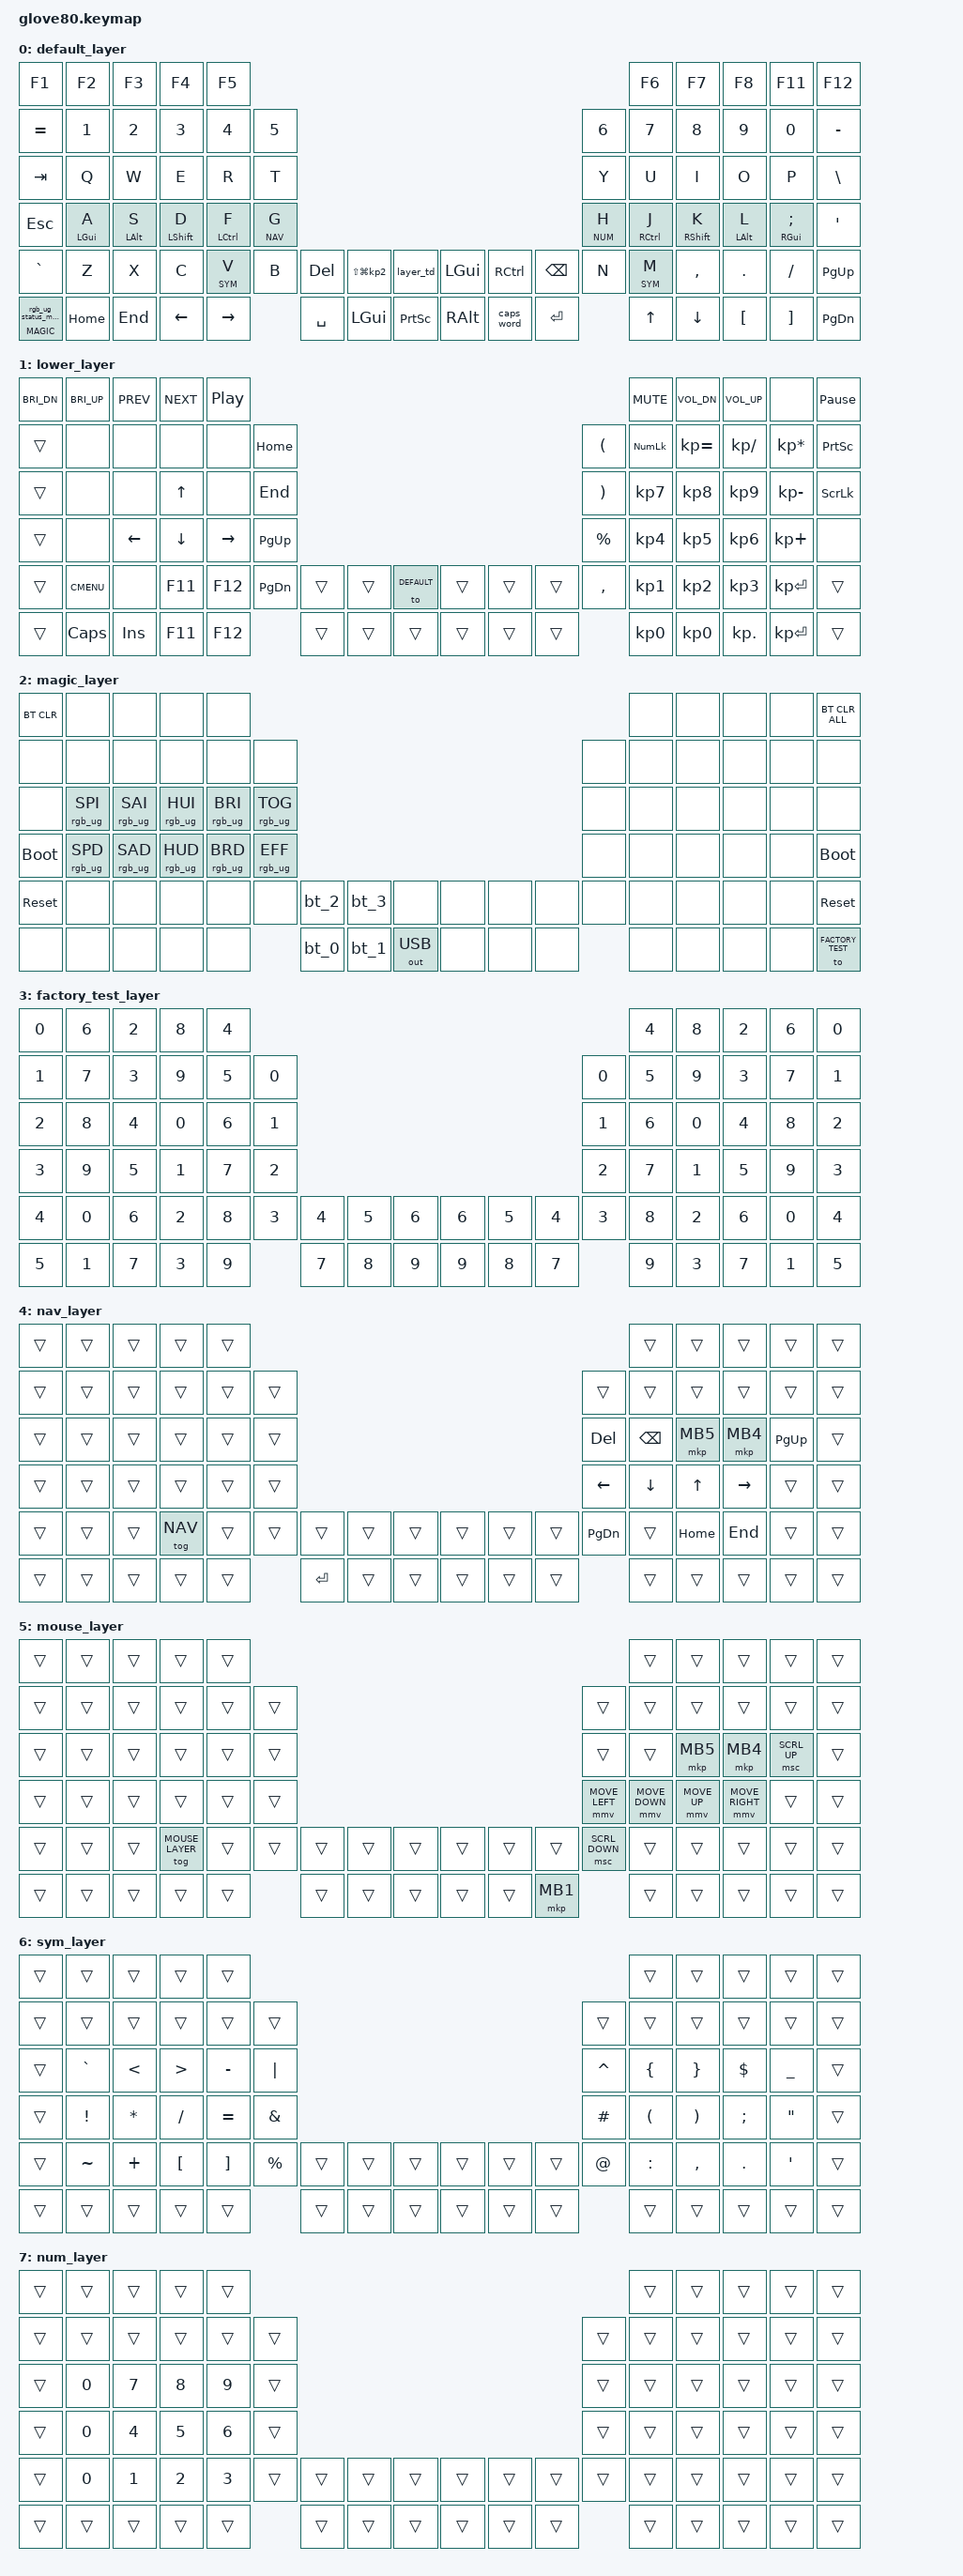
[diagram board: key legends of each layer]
/*
 * Copyright (c) 2020 The ZMK Contributors
 *
 * SPDX-License-Identifier: MIT
 */

#include <behaviors.dtsi>
#include <dt-bindings/zmk/keys.h>
#include <dt-bindings/zmk/bt.h>
#include <dt-bindings/zmk/ext_power.h>
#include <dt-bindings/zmk/outputs.h>
#include <dt-bindings/zmk/rgb.h>
#include <dt-bindings/zmk/mouse.h>
#include <dt-bindings/zmk/modifiers.h>

#define HYPER LC(LS(LG(LALT)))

// layers
#define DEFAULT      0
#define LOWER        1
#define MAGIC        2
#define FACTORY_TEST 3
#define NAV          4
#define MOUSE_LAYER  5
#define SYM          6
#define NUM          7

// Left-hand key positions (for right-hand home row mods)
#define KEYS_L \
     0  1  2  3  4      \
    10 11 12 13 14 15   \
    22 23 24 25 26 27   \
    34 35 36 37 38 39   \
    46 47 48 49 50 51   \
    52 53 54            \
    64 65 66 67 68      \
    69 70 71

// Right-hand key positions (for left-hand home row mods)
#define KEYS_R \
     5  6  7  8  9      \
    16 17 18 19 20 21   \
    28 29 30 31 32 33   \
    40 41 42 43 44 45   \
    55 56 57            \
    58 59 60 61 62 63   \
    72 73 74            \
    75 76 77 78 79

/ {
    behaviors {
        layer_td: tap_dance_0 {
            compatible = "zmk,behavior-tap-dance";
            label = "LAYER_TAP_DANCE";
            #binding-cells = <0>;
            tapping-term-ms = <200>;
            bindings = <&mo LOWER>, <&to LOWER>;
        };

        magic: magic_hold_tap {
            compatible = "zmk,behavior-hold-tap";
            label = "MAGIC_HOLD_TAP";
            #binding-cells = <2>;
            flavor = "tap-preferred";
            tapping-term-ms = <200>;
            bindings = <&mo>, <&rgb_ug_status_macro>;
        };

        // Timeless home row mods (urob's approach)
        // Hold fires only on opposite-hand key press; tapping-term is safety net only.
        hml: home_row_mod_left {
            compatible = "zmk,behavior-hold-tap";
            label = "HML";
            #binding-cells = <2>;
            flavor = "balanced";
            tapping-term-ms = <280>;
            quick-tap-ms = <275>;
            require-prior-idle-ms = <100>;
            hold-trigger-on-release;
            hold-trigger-key-positions = <KEYS_R>;
            bindings = <&kp>, <&kp>;
        };

        hmr: home_row_mod_right {
            compatible = "zmk,behavior-hold-tap";
            label = "HMR";
            #binding-cells = <2>;
            flavor = "balanced";
            tapping-term-ms = <280>;
            quick-tap-ms = <275>;
            require-prior-idle-ms = <100>;
            hold-trigger-on-release;
            hold-trigger-key-positions = <KEYS_L>;
            bindings = <&kp>, <&kp>;
        };

        // Thumb key: tap = one-shot layer, hold = momentary layer.
        sl_mo: sticky_mo {
            compatible = "zmk,behavior-hold-tap";
            label = "SL_MO";
            #binding-cells = <2>;
            flavor = "tap-preferred";
            tapping-term-ms = <200>;
            bindings = <&mo>, <&sl>;
        };

        lt_l: layer_tap_nav {
            compatible = "zmk,behavior-hold-tap";
            label = "LT_L";
            #binding-cells = <2>;
            flavor = "balanced";
            tapping-term-ms = <280>;
            quick-tap-ms = <275>;
            require-prior-idle-ms = <50>;
            hold-trigger-on-release;
            hold-trigger-key-positions = <KEYS_R>;
            bindings = <&mo>, <&kp>;
        };

        lt_r: layer_tap_nav_r {
            compatible = "zmk,behavior-hold-tap";
            label = "LT_R";
            #binding-cells = <2>;
            flavor = "balanced";
            tapping-term-ms = <280>;
            quick-tap-ms = <275>;
            require-prior-idle-ms = <50>;
            hold-trigger-on-release;
            hold-trigger-key-positions = <KEYS_L>;
            bindings = <&mo>, <&kp>;
        };
    };

    macros {
        rgb_ug_status_macro: rgb_ug_status_macro_0 {
            label = "RGB_UG_STATUS";
            compatible = "zmk,behavior-macro";
            #binding-cells = <0>;
            bindings
                = <&rgb_ug RGB_STATUS>;
        };

        bt_0: bt_profile_macro_0 {
            label = "BT_0";
            compatible = "zmk,behavior-macro";
            #binding-cells = <0>;
            bindings
                = <&out OUT_BLE>,
                  <&bt BT_SEL 0>;
        };

        bt_1: bt_profile_macro_1 {
            label = "BT_1";
            compatible = "zmk,behavior-macro";
            #binding-cells = <0>;
            bindings
                = <&out OUT_BLE>,
                  <&bt BT_SEL 1>;
        };

        bt_2: bt_profile_macro_2 {
            label = "BT_2";
            compatible = "zmk,behavior-macro";
            #binding-cells = <0>;
            bindings
                = <&out OUT_BLE>,
                  <&bt BT_SEL 2>;
        };

        bt_3: bt_profile_macro_3 {
            label = "BT_3";
            compatible = "zmk,behavior-macro";
            #binding-cells = <0>;
            bindings
                = <&out OUT_BLE>,
                  <&bt BT_SEL 3>;
        };
    };

    keymap {
        compatible = "zmk,keymap";

        default_layer {
            // ---------------------------------------------------------------------------------------------------------------------------------
            // |  F1   |  F2 |  F3 |  F4  |  F5  |                                                               |  F6   |  F7   |  F8  |   F9  |  F10 |
            // |  =    |  1  |  2  |  3   |  4   |  5   |                                                 |  6   |   7   |   8   |  9   |   0   |   -  |
            // |  TAB  |  Q  |  W  |  E   |  R   |  T   |                                                 |  Y   |   U   |   I   |  O   |   P   |   \  |
            // |  ESC  |GUI/A|ALT/S|SFT/D |CTL/F |NAV/G |                                                 |  H   |CTL/J  |SFT/K  |ALT/L |GUI/;  |   '  |
            // |   `   |  Z  |  X  |  C   |MSE/V |  B   | LSHFT | LCTRL | LOWER | | LGUI  | RCTRL | RSHFT |  N   |   M   |   ,   |  .   |   /   | PGUP |
            // | MAGIC | HOME| END | LEFT | RIGHT|      | BSPC  | DEL   | LALT  | | RALT  | RET   | SPACE |      |  UP   | DOWN  |  [   |   ]   | PGDN |

        bindings = <
            &kp F1         &kp F2   &kp F3      &kp F4      &kp F5                                                                                                   &kp F6  &kp F7          &kp F8          &kp F11       &kp F12
            &kp EQUAL      &kp N1   &kp N2      &kp N3      &kp N4      &kp N5                                                                               &kp N6  &kp N7  &kp N8          &kp N9          &kp N0       &kp MINUS
            &kp TAB        &kp Q    &kp W       &kp E       &kp R       &kp T                                                                                &kp Y   &kp U   &kp I           &kp O           &kp P        &kp BSLH
            &kp ESC        &hml LGUI A  &hml LALT S  &hml LSHFT D  &hml LCTRL F  &lt_l NAV G                                                                 &lt_r NUM H   &hmr RCTRL J  &hmr RSHFT K  &hmr LALT L  &hmr RGUI SEMI  &kp SQT
            &kp GRAVE      &kp Z    &kp X       &kp C       &lt_l SYM V  &kp B    &kp DEL  &kp LS(LG(KP_N2)) &layer_td  &kp LGUI  &kp RCTRL &kp BSPC   &kp N   &lt_r SYM M   &kp COMMA   &kp DOT     &kp FSLH    &kp PG_UP
            &magic MAGIC 0 &kp HOME &kp END     &kp LEFT    &kp RIGHT              &kp SPACE  &kp LGUI &kp PSCRN  &kp RALT  &caps_word  &kp RET           &kp UP  &kp DOWN    &kp LBKT    &kp RBKT    &kp PG_DN
            >;
        };

        lower_layer {
            bindings = <
            &kp C_BRI_DN      &kp C_BRI_UP        &kp C_PREV      &kp C_NEXT      &kp C_PP                                                                                                           &kp C_MUTE   &kp C_VOL_DN &kp C_VOL_UP  &none           &kp PAUSE_BREAK
            &trans            &none               &none           &none           &none           &kp HOME                                                                              &kp LPAR     &kp KP_NUM   &kp KP_EQUAL &kp KP_DIVIDE &kp KP_MULTIPLY &kp PSCRN
            &trans            &none               &none           &kp UP          &none           &kp END                                                                               &kp RPAR     &kp KP_N7    &kp KP_N8    &kp KP_N9     &kp KP_MINUS    &kp SLCK
            &trans            &none               &kp LEFT        &kp DOWN        &kp RIGHT       &kp PG_UP                                                                             &kp PRCNT    &kp KP_N4    &kp KP_N5    &kp KP_N6     &kp KP_PLUS     &none
            &trans            &kp K_CMENU         &none           &kp F11         &kp F12         &kp PG_DN       &trans      &trans      &to DEFAULT &trans      &trans      &trans    &kp COMMA    &kp KP_N1    &kp KP_N2    &kp KP_N3     &kp KP_ENTER    &trans
            &trans            &kp CAPS            &kp INS         &kp F11         &kp F12                         &trans      &trans      &trans      &trans      &trans      &trans                 &kp KP_N0    &kp KP_N0    &kp KP_DOT    &kp KP_ENTER    &trans
            >;
        };

        magic_layer {
            bindings = <
            &bt BT_CLR        &none               &none           &none           &none                                                                                                           &none      &none      &none      &none      &bt BT_CLR_ALL
            &none             &none               &none           &none           &none           &none                                                                                &none      &none      &none      &none      &none      &none
            &none             &rgb_ug RGB_SPI     &rgb_ug RGB_SAI &rgb_ug RGB_HUI &rgb_ug RGB_BRI &rgb_ug RGB_TOG                                                                      &none      &none      &none      &none      &none      &none
            &bootloader       &rgb_ug RGB_SPD     &rgb_ug RGB_SAD &rgb_ug RGB_HUD &rgb_ug RGB_BRD &rgb_ug RGB_EFF                                                                      &none      &none      &none      &none      &none      &bootloader
            &sys_reset        &none               &none           &none           &none           &none           &bt_2     &bt_3     &none            &none     &none     &none       &none      &none      &none      &none      &none      &sys_reset
            &none             &none               &none           &none           &none                           &bt_0     &bt_1     &out OUT_USB     &none     &none     &none                  &none      &none      &none      &none      &to FACTORY_TEST
            >;
        };

        factory_test_layer {
            bindings = <
            &kp N0   &kp N6   &kp N2   &kp N8   &kp N4                                                                              &kp N4   &kp N8   &kp N2   &kp N6   &kp N0
            &kp N1   &kp N7   &kp N3   &kp N9   &kp N5   &kp N0                                                            &kp N0   &kp N5   &kp N9   &kp N3   &kp N7   &kp N1
            &kp N2   &kp N8   &kp N4   &kp N0   &kp N6   &kp N1                                                            &kp N1   &kp N6   &kp N0   &kp N4   &kp N8   &kp N2
            &kp N3   &kp N9   &kp N5   &kp N1   &kp N7   &kp N2                                                            &kp N2   &kp N7   &kp N1   &kp N5   &kp N9   &kp N3
            &kp N4   &kp N0   &kp N6   &kp N2   &kp N8   &kp N3   &kp N4   &kp N5   &kp N6      &kp N6   &kp N5   &kp N4   &kp N3   &kp N8   &kp N2   &kp N6   &kp N0   &kp N4
            &kp N5   &kp N1   &kp N7   &kp N3   &kp N9            &kp N7   &kp N8   &kp N9      &kp N9   &kp N8   &kp N7            &kp N9   &kp N3   &kp N7   &kp N1   &kp N5
            >;
        };

        nav_layer {
            bindings = <
            &trans   &trans   &trans   &trans   &trans                                                                                             &trans    &trans    &trans    &trans    &trans
            &trans   &trans   &trans   &trans   &trans   &trans                                                                         &trans    &trans    &trans    &trans    &trans    &trans
            &trans   &trans   &trans   &trans   &trans   &trans                                                                         &kp DEL   &kp BSPC  &mkp MB5  &mkp MB4  &kp PG_UP &trans
            &trans   &trans   &trans   &trans   &trans   &trans                                                                         &kp LEFT  &kp DOWN  &kp UP    &kp RIGHT &trans    &trans
            &trans   &trans   &trans   &tog NAV &trans   &trans   &trans   &trans   &trans      &trans   &trans   &trans                &kp PG_DN &trans    &kp HOME  &kp END   &trans    &trans
            &trans   &trans   &trans   &trans   &trans            &kp RET   &trans   &trans      &trans   &trans   &trans                          &trans    &trans    &trans    &trans    &trans
            >;
        };

        mouse_layer {
            bindings = <
            &trans   &trans   &trans   &trans   &trans                                                                                                           &trans          &trans          &trans         &trans    &trans
            &trans   &trans   &trans   &trans   &trans   &trans                                                                                       &trans    &trans          &trans          &trans         &trans    &trans
            &trans   &trans   &trans   &trans   &trans   &trans                                                                                       &trans    &trans          &mkp MB5        &mkp MB4       &msc SCRL_UP &trans
            &trans   &trans   &trans   &trans   &trans   &trans                                                                                       &mmv MOVE_LEFT &mmv MOVE_DOWN &mmv MOVE_UP &mmv MOVE_RIGHT &trans  &trans
            &trans   &trans   &trans   &tog MOUSE_LAYER &trans &trans &trans &trans &trans      &trans   &trans   &trans                               &msc SCRL_DOWN &trans   &trans          &trans         &trans    &trans
            &trans   &trans   &trans   &trans   &trans            &trans   &trans   &trans      &trans   &trans   &mkp MB1                                       &trans          &trans          &trans         &trans    &trans
            >;
        };


        sym_layer {
            bindings = <
            &trans   &trans      &trans      &trans      &trans                                                                                                   &trans      &trans      &trans      &trans      &trans
            &trans   &trans      &trans      &trans      &trans      &trans                                                                           &trans      &trans      &trans      &trans      &trans      &trans
            &trans   &kp GRAVE   &kp LT      &kp GT      &kp MINUS   &kp PIPE                                                                         &kp CARET   &kp LBRC    &kp RBRC    &kp DLLR    &kp UNDER   &trans
            &trans   &kp EXCL    &kp STAR    &kp FSLH    &kp EQUAL   &kp AMPS                                                                         &kp HASH    &kp LPAR    &kp RPAR    &kp SEMI    &kp DQT     &trans
            &trans   &kp TILDE   &kp PLUS    &kp LBKT    &kp RBKT    &kp PRCNT   &trans   &trans   &trans      &trans   &trans   &trans               &kp AT      &kp COLON   &kp COMMA   &kp DOT     &kp SQT     &trans
            &trans   &trans      &trans      &trans      &trans                   &trans   &trans   &trans     &trans   &trans   &trans                           &trans      &trans      &trans      &trans      &trans
            >;
        };

        num_layer {
            bindings = <
            &trans   &trans      &trans      &trans      &trans                                                                                                   &trans      &trans      &trans      &trans      &trans
            &trans   &trans      &trans      &trans      &trans      &trans                                                                           &trans      &trans      &trans      &trans      &trans      &trans
            &trans   &kp N0      &kp N7      &kp N8      &kp N9      &trans                                                                           &trans      &trans      &trans      &trans      &trans      &trans
            &trans   &kp N0      &kp N4      &kp N5      &kp N6      &trans                                                                           &trans      &trans      &trans      &trans      &trans      &trans
            &trans   &kp N0      &kp N1      &kp N2      &kp N3      &trans       &trans   &trans   &trans     &trans   &trans   &trans               &trans      &trans      &trans      &trans      &trans      &trans
            &trans   &trans      &trans      &trans      &trans                   &trans   &trans   &trans     &trans   &trans   &trans                           &trans      &trans      &trans      &trans      &trans
            >;
        };
    };
};
